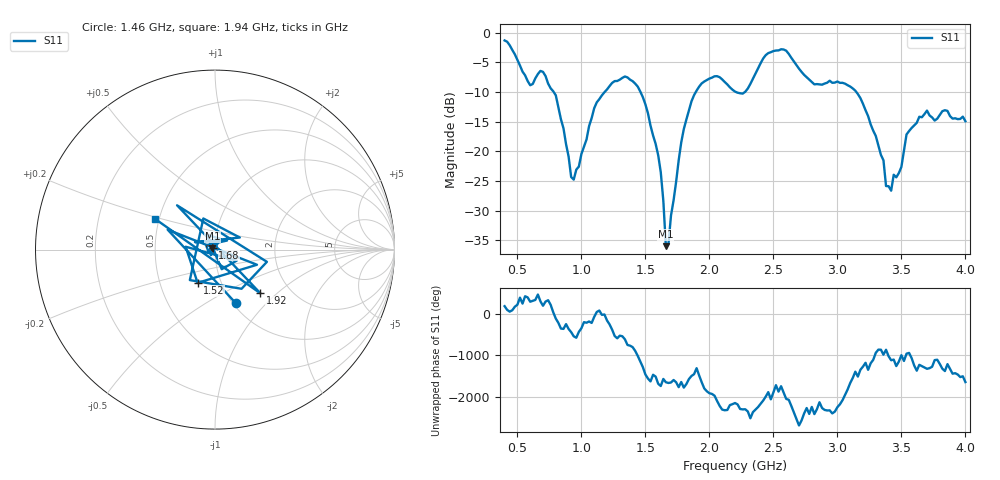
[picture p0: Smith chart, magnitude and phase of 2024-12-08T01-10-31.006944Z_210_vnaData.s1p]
!Created with skrf (http://scikit-rf.org).
# Hz S RI R 50.0
!freq ReS11 ImS11
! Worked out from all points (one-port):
!   181 points, 400 MHz to 4 GHz, reference 50 ohm
!   lowest |S11| = -36.0 dB at 1.66 GHz (marker M1), VSWR 1.03, Z = 48.6 + j0.681 ohm
!   |S11| at or under -10 dB: 783.5 MHz to 1.182 GHz (398.3 MHz wide, 40.5 % of centre); 1.462 GHz to 1.894 GHz (432.3 MHz wide, 25.8 % of centre); 3.148 GHz to end of sweep (the widest 3 of 4)
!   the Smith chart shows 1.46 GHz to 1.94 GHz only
!   S11 on the Smith chart (normalised r, x): 1.46 GHz: 1.03, -0.68; 1.52 GHz: 0.77, -0.30; 1.68 GHz: 0.98, +0.02; 1.92 GHz: 1.42, -0.79; 1.94 GHz: 0.48, +0.19
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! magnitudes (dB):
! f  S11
! 400 MHz  -1.3
! 600 MHz  -8.9
! 700 MHz  -6.6
! 860 MHz  -16.1
! 940 MHz  -24.8
! 1.12 GHz  -11.7
! 1.3 GHz  -7.9
! 1.46 GHz  -9.9
! 1.52 GHz  -13.6
! 1.62 GHz  -23.5
! 1.66 GHz  -36.0
! 1.68 GHz  -35.7
! 1.76 GHz  -21.5
! 1.82 GHz  -14.6
! 1.92 GHz  -9.1
! 1.94 GHz  -8.5
! 2.2 GHz  -9.9
! 2.28 GHz  -10.0
! 2.46 GHz  -3.4
! 2.66 GHz  -4.8
! 2.82 GHz  -8.7
! 3.1 GHz  -9.1
! 3.24 GHz  -14.1
! 3.38 GHz  -25.9
! 3.42 GHz  -26.7
! 3.56 GHz  -16.6
! 3.7 GHz  -13.1
! 4 GHz  -14.9
